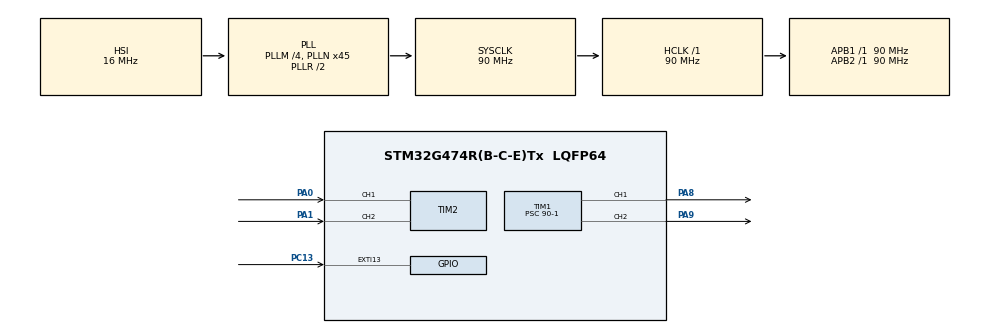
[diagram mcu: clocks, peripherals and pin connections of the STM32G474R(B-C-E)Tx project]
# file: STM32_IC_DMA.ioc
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Dma.Request0=TIM2_CH1
Dma.Request1=TIM2_CH2
Dma.TIM2_CH1.0.Direction=DMA_PERIPH_TO_MEMORY
Dma.TIM2_CH1.0.EventEnable=DISABLE
Dma.TIM2_CH1.0.Instance=DMA1_Channel1
Dma.TIM2_CH1.0.MemDataAlignment=DMA_MDATAALIGN_WORD
Dma.TIM2_CH1.0.MemInc=DMA_MINC_ENABLE
Dma.TIM2_CH1.0.Mode=DMA_NORMAL
Dma.TIM2_CH1.0.PeriphDataAlignment=DMA_PDATAALIGN_WORD
Dma.TIM2_CH1.0.PeriphInc=DMA_PINC_DISABLE
Dma.TIM2_CH1.0.Polarity=HAL_DMAMUX_REQ_GEN_RISING
Dma.TIM2_CH1.0.Priority=DMA_PRIORITY_LOW
Dma.TIM2_CH1.0.RequestNumber=1
Dma.TIM2_CH1.0.SignalID=NONE
Dma.TIM2_CH1.0.SyncEnable=DISABLE
Dma.TIM2_CH1.0.SyncPolarity=HAL_DMAMUX_SYNC_NO_EVENT
Dma.TIM2_CH1.0.SyncRequestNumber=1
Dma.TIM2_CH1.0.SyncSignalID=NONE
Dma.TIM2_CH2.1.Direction=DMA_PERIPH_TO_MEMORY
Dma.TIM2_CH2.1.EventEnable=DISABLE
Dma.TIM2_CH2.1.Instance=DMA1_Channel2
Dma.TIM2_CH2.1.MemDataAlignment=DMA_MDATAALIGN_WORD
Dma.TIM2_CH2.1.MemInc=DMA_MINC_ENABLE
Dma.TIM2_CH2.1.Mode=DMA_NORMAL
Dma.TIM2_CH2.1.PeriphDataAlignment=DMA_PDATAALIGN_WORD
Dma.TIM2_CH2.1.PeriphInc=DMA_PINC_DISABLE
Dma.TIM2_CH2.1.Polarity=HAL_DMAMUX_REQ_GEN_RISING
Dma.TIM2_CH2.1.Priority=DMA_PRIORITY_LOW
Dma.TIM2_CH2.1.RequestNumber=1
Dma.TIM2_CH2.1.SignalID=NONE
Dma.TIM2_CH2.1.SyncEnable=DISABLE
Dma.TIM2_CH2.1.SyncPolarity=HAL_DMAMUX_SYNC_NO_EVENT
Dma.TIM2_CH2.1.SyncRequestNumber=1
Dma.TIM2_CH2.1.SyncSignalID=NONE
Mcu.Family=STM32G4
Mcu.Name=STM32G474R(B-C-E)Tx
Mcu.Package=LQFP64
NVIC.DMA1_Channel1_IRQn=true\:0\:0\:false\:false\:true\:false\:true\:true
NVIC.DMA1_Channel2_IRQn=true\:0\:0\:false\:false\:true\:false\:true\:true
NVIC.EXTI15_10_IRQn=true\:0\:0\:false\:false\:true\:true\:true\:true
NVIC.PriorityGroup=NVIC_PRIORITYGROUP_4
NVIC.TIM2_IRQn=true\:0\:0\:false\:false\:true\:true\:true\:true
PA0.Signal=S_TIM2_CH1
PA1.Signal=S_TIM2_CH2
PA8.Signal=S_TIM1_CH1
PA9.Signal=S_TIM1_CH2
PC13.Signal=GPXTI13
PC14-OSC32_IN.Mode=LSE-External-Oscillator
PC14-OSC32_IN.Signal=RCC_OSC32_IN
PC15-OSC32_OUT.Mode=LSE-External-Oscillator
PC15-OSC32_OUT.Signal=RCC_OSC32_OUT
PF0-OSC_IN.Mode=HSE-External-Oscillator
PF0-OSC_IN.Signal=RCC_OSC_IN
PF1-OSC_OUT.Mode=HSE-External-Oscillator
PF1-OSC_OUT.Signal=RCC_OSC_OUT
ProjectManager.HeapSize=0x200
ProjectManager.StackSize=0x400
ProjectManager.TargetToolchain=STM32CubeIDE
RCC.ADC12Freq_Value=90000000
RCC.ADC345Freq_Value=90000000
RCC.AHBFreq_Value=90000000
RCC.APB1Freq_Value=90000000
RCC.APB1TimFreq_Value=90000000
RCC.APB2Freq_Value=90000000
RCC.APB2TimFreq_Value=90000000
RCC.CortexFreq_Value=90000000
RCC.EXTERNAL_CLOCK_VALUE=12288000
RCC.HCLKFreq_Value=90000000
RCC.HSE_VALUE=24000000
RCC.HSI48_VALUE=48000000
RCC.HSI_VALUE=16000000
RCC.PLLM=RCC_PLLM_DIV4
RCC.PLLN=45
RCC.RTCClockSelection=RCC_RTCCLKSOURCE_LSE
RCC.SYSCLKFreq_VALUE=90000000
RCC.SYSCLKSource=RCC_SYSCLKSOURCE_PLLCLK
RCC.USBFreq_Value=90000000
RCC.VCOOutputFreq_Value=180000000
SH.S_TIM1_CH1.0=TIM1_CH1,PWM Generation1 CH1
SH.S_TIM1_CH2.0=TIM1_CH2,PWM Generation2 CH2
SH.S_TIM2_CH1.0=TIM2_CH1,Input_Capture1_from_TI1
SH.S_TIM2_CH2.0=TIM2_CH2,Input_Capture2_from_TI2
TIM1.Channel-PWM\ Generation1\ CH1=TIM_CHANNEL_1
TIM1.Channel-PWM\ Generation2\ CH2=TIM_CHANNEL_2
TIM1.OCPolarity_2=TIM_OCPOLARITY_HIGH
TIM1.PeriodNoDither=100 - 1
TIM1.Prescaler=90-1
TIM1.PulseNoDither_1=40
TIM1.PulseNoDither_2=60
TIM2.Channel-Input_Capture1_from_TI1=TIM_CHANNEL_1
TIM2.Channel-Input_Capture2_from_TI2=TIM_CHANNEL_2
TIM2.ICPolarity_CH1=TIM_INPUTCHANNELPOLARITY_FALLING
TIM2.ICPolarity_CH2=TIM_INPUTCHANNELPOLARITY_FALLING
VP_SYS_VS_DBSignals.Mode=DisableDeadBatterySignals
VP_TIM1_VS_ClockSourceINT.Mode=Internal
VP_TIM2_VS_ClockSourceINT.Mode=Internal
board=NUCLEO-G474RE

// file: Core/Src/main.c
/* USER CODE BEGIN Header */
/**
  ******************************************************************************
  * @file           : main.c
  * @brief          : Main program body
  ******************************************************************************
  * @attention
  *
  * Copyright (c) 2023 STMicroelectronics.
  * All rights reserved.
  *
  * This software is licensed under terms that can be found in the LICENSE file
  * in the root directory of this software component.
  * If no LICENSE file comes with this software, it is provided AS-IS.
  *
  ******************************************************************************
  */
/* USER CODE END Header */
#include "main.h"

TIM_HandleTypeDef htim1;
TIM_HandleTypeDef htim2;
DMA_HandleTypeDef hdma_tim2_ch1;
DMA_HandleTypeDef hdma_tim2_ch2;

void SystemClock_Config(void);
static void MX_GPIO_Init(void);
static void MX_DMA_Init(void);
static void MX_TIM1_Init(void);
static void MX_TIM2_Init(void);
/* USER CODE BEGIN PFP */
void Phase_Shift_Calculator(void);
void HAL_GPIO_EXTI_Callback(uint16_t GPIO_Pin);
void Frequency_Calculator(void);

/* USER CODE END PFP */

/* USER CODE BEGIN 0 */
#define numVal 100
#define TIM2CLOCK 90000000
float InpFrequency = 0;
float Phaseshift = 0;

uint32_t Data1[numVal];
uint32_t Data2[numVal];
uint32_t PSData[numVal];
uint32_t FrData[numVal-1];

void HAL_TIM_IC_CaptureCallback(TIM_HandleTypeDef *htim)
{
	//there is nothing for now
}

void Phase_Shift_Calculator(void)
{
	int i;
	int sum;
	int TimeDifference;
	for (i=0 ; i < numVal ; i++)
	{
		if (Data1[i] < Data2[i])
		{
			PSData[i] = Data2[i] - Data1[i];
		}
		else
		{
			PSData[i] = Data1[i] - Data2[i];
		}
		sum += PSData[i];
	}
	TimeDifference = sum/numVal;
	Phaseshift = 360*(TimeDifference / (float)TIM2CLOCK )* InpFrequency ;
	sum = 0;
}
void Frequency_Calculator(void)
{
	int i ;
	int sum ;
	int TimeDifference;
	for (i=0; i < numVal-1; i++)
	{
		FrData[i] = Data2[i+1] - Data2[i];
		sum += FrData[i];
	}
	TimeDifference = sum/(numVal-1);
	InpFrequency = TIM2CLOCK / (float)TimeDifference ;
	sum = 0;
}

void HAL_GPIO_EXTI_Callback(uint16_t GPIO_Pin)
{
	Frequency_Calculator();
	Phase_Shift_Calculator();
}

/* USER CODE END 0 */

int main(void)
{

  /* MCU Configuration--------------------------------------------------------*/

  /* Reset of all peripherals, Initializes the Flash interface and the Systick. */
  HAL_Init();

  /* Configure the system clock */
  SystemClock_Config();

  /* Initialize all configured peripherals */
  MX_GPIO_Init();
  MX_DMA_Init();
  MX_TIM1_Init();
  MX_TIM2_Init();
  /* USER CODE BEGIN 2 */
  HAL_TIM_PWM_Start(&htim1, TIM_CHANNEL_1);
  HAL_TIM_PWM_Start(&htim1, TIM_CHANNEL_2);
  HAL_TIM_IC_Start_DMA(&htim2, TIM_CHANNEL_1, Data1, numVal);
  HAL_TIM_IC_Start_DMA(&htim2, TIM_CHANNEL_2, Data2, numVal);

  /* USER CODE END 2 */

  /* Infinite loop */
  /* USER CODE BEGIN WHILE */
  while (1)
  {
    HAL_Delay(100);

    /* USER CODE END WHILE */

  }
}

void SystemClock_Config(void)
{
  RCC_OscInitTypeDef RCC_OscInitStruct = {0};
  RCC_ClkInitTypeDef RCC_ClkInitStruct = {0};

  /** Configure the main internal regulator output voltage
  */
  HAL_PWREx_ControlVoltageScaling(PWR_REGULATOR_VOLTAGE_SCALE1);

  /** Initializes the RCC Oscillators according to the specified parameters
  * in the RCC_OscInitTypeDef structure.
  */
  RCC_OscInitStruct.OscillatorType = RCC_OSCILLATORTYPE_HSI;
  RCC_OscInitStruct.HSIState = RCC_HSI_ON;
  RCC_OscInitStruct.HSICalibrationValue = RCC_HSICALIBRATION_DEFAULT;
  RCC_OscInitStruct.PLL.PLLState = RCC_PLL_ON;
  RCC_OscInitStruct.PLL.PLLSource = RCC_PLLSOURCE_HSI;
  RCC_OscInitStruct.PLL.PLLM = RCC_PLLM_DIV4;
  RCC_OscInitStruct.PLL.PLLN = 45;
  RCC_OscInitStruct.PLL.PLLP = RCC_PLLP_DIV2;
  RCC_OscInitStruct.PLL.PLLQ = RCC_PLLQ_DIV2;
  RCC_OscInitStruct.PLL.PLLR = RCC_PLLR_DIV2;
  if (HAL_RCC_OscConfig(&RCC_OscInitStruct) != HAL_OK)
  {
    Error_Handler();
  }

  /** Initializes the CPU, AHB and APB buses clocks
  */
  RCC_ClkInitStruct.ClockType = RCC_CLOCKTYPE_HCLK|RCC_CLOCKTYPE_SYSCLK
                              |RCC_CLOCKTYPE_PCLK1|RCC_CLOCKTYPE_PCLK2;
  RCC_ClkInitStruct.SYSCLKSource = RCC_SYSCLKSOURCE_PLLCLK;
  RCC_ClkInitStruct.AHBCLKDivider = RCC_SYSCLK_DIV1;
  RCC_ClkInitStruct.APB1CLKDivider = RCC_HCLK_DIV1;
  RCC_ClkInitStruct.APB2CLKDivider = RCC_HCLK_DIV1;

  if (HAL_RCC_ClockConfig(&RCC_ClkInitStruct, FLASH_LATENCY_2) != HAL_OK)
  {
    Error_Handler();
  }
}

static void MX_TIM1_Init(void)
{

  TIM_ClockConfigTypeDef sClockSourceConfig = {0};
  TIM_MasterConfigTypeDef sMasterConfig = {0};
  TIM_OC_InitTypeDef sConfigOC = {0};
  TIM_BreakDeadTimeConfigTypeDef sBreakDeadTimeConfig = {0};

  htim1.Instance = TIM1;
  htim1.Init.Prescaler = 90-1;
  htim1.Init.CounterMode = TIM_COUNTERMODE_UP;
  htim1.Init.Period = 99;
  htim1.Init.ClockDivision = TIM_CLOCKDIVISION_DIV1;
  htim1.Init.RepetitionCounter = 0;
  htim1.Init.AutoReloadPreload = TIM_AUTORELOAD_PRELOAD_DISABLE;
  if (HAL_TIM_Base_Init(&htim1) != HAL_OK)
  {
    Error_Handler();
  }
  sClockSourceConfig.ClockSource = TIM_CLOCKSOURCE_INTERNAL;
  if (HAL_TIM_ConfigClockSource(&htim1, &sClockSourceConfig) != HAL_OK)
  {
    Error_Handler();
  }
  if (HAL_TIM_PWM_Init(&htim1) != HAL_OK)
  {
    Error_Handler();
  }
  sMasterConfig.MasterOutputTrigger = TIM_TRGO_RESET;
  sMasterConfig.MasterOutputTrigger2 = TIM_TRGO2_RESET;
  sMasterConfig.MasterSlaveMode = TIM_MASTERSLAVEMODE_DISABLE;
  if (HAL_TIMEx_MasterConfigSynchronization(&htim1, &sMasterConfig) != HAL_OK)
  {
    Error_Handler();
  }
  sConfigOC.OCMode = TIM_OCMODE_PWM1;
  sConfigOC.Pulse = 40;
  sConfigOC.OCPolarity = TIM_OCPOLARITY_HIGH;
  sConfigOC.OCNPolarity = TIM_OCNPOLARITY_HIGH;
  sConfigOC.OCFastMode = TIM_OCFAST_DISABLE;
  sConfigOC.OCIdleState = TIM_OCIDLESTATE_RESET;
  sConfigOC.OCNIdleState = TIM_OCNIDLESTATE_RESET;
  if (HAL_TIM_PWM_ConfigChannel(&htim1, &sConfigOC, TIM_CHANNEL_1) != HAL_OK)
  {
    Error_Handler();
  }
  sConfigOC.Pulse = 60;
  if (HAL_TIM_PWM_ConfigChannel(&htim1, &sConfigOC, TIM_CHANNEL_2) != HAL_OK)
  {
    Error_Handler();
  }
  sBreakDeadTimeConfig.OffStateRunMode = TIM_OSSR_DISABLE;
  sBreakDeadTimeConfig.OffStateIDLEMode = TIM_OSSI_DISABLE;
  sBreakDeadTimeConfig.LockLevel = TIM_LOCKLEVEL_OFF;
  sBreakDeadTimeConfig.DeadTime = 0;
  sBreakDeadTimeConfig.BreakState = TIM_BREAK_DISABLE;
  sBreakDeadTimeConfig.BreakPolarity = TIM_BREAKPOLARITY_HIGH;
  sBreakDeadTimeConfig.BreakFilter = 0;
  sBreakDeadTimeConfig.BreakAFMode = TIM_BREAK_AFMODE_INPUT;
  sBreakDeadTimeConfig.Break2State = TIM_BREAK2_DISABLE;
  sBreakDeadTimeConfig.Break2Polarity = TIM_BREAK2POLARITY_HIGH;
  sBreakDeadTimeConfig.Break2Filter = 0;
  sBreakDeadTimeConfig.Break2AFMode = TIM_BREAK_AFMODE_INPUT;
  sBreakDeadTimeConfig.AutomaticOutput = TIM_AUTOMATICOUTPUT_DISABLE;
  if (HAL_TIMEx_ConfigBreakDeadTime(&htim1, &sBreakDeadTimeConfig) != HAL_OK)
  {
    Error_Handler();
  }
  HAL_TIM_MspPostInit(&htim1);

}

static void MX_TIM2_Init(void)
{

  TIM_ClockConfigTypeDef sClockSourceConfig = {0};
  TIM_MasterConfigTypeDef sMasterConfig = {0};
  TIM_IC_InitTypeDef sConfigIC = {0};

  htim2.Instance = TIM2;
  htim2.Init.Prescaler = 0;
  htim2.Init.CounterMode = TIM_COUNTERMODE_UP;
  htim2.Init.Period = 4.294967295E9;
  htim2.Init.ClockDivision = TIM_CLOCKDIVISION_DIV1;
  htim2.Init.AutoReloadPreload = TIM_AUTORELOAD_PRELOAD_DISABLE;
  if (HAL_TIM_Base_Init(&htim2) != HAL_OK)
  {
    Error_Handler();
  }
  sClockSourceConfig.ClockSource = TIM_CLOCKSOURCE_INTERNAL;
  if (HAL_TIM_ConfigClockSource(&htim2, &sClockSourceConfig) != HAL_OK)
  {
    Error_Handler();
  }
  if (HAL_TIM_IC_Init(&htim2) != HAL_OK)
  {
    Error_Handler();
  }
  sMasterConfig.MasterOutputTrigger = TIM_TRGO_RESET;
  sMasterConfig.MasterSlaveMode = TIM_MASTERSLAVEMODE_DISABLE;
  if (HAL_TIMEx_MasterConfigSynchronization(&htim2, &sMasterConfig) != HAL_OK)
  {
    Error_Handler();
  }
  sConfigIC.ICPolarity = TIM_INPUTCHANNELPOLARITY_FALLING;
  sConfigIC.ICSelection = TIM_ICSELECTION_DIRECTTI;
  sConfigIC.ICPrescaler = TIM_ICPSC_DIV1;
  sConfigIC.ICFilter = 0;
  if (HAL_TIM_IC_ConfigChannel(&htim2, &sConfigIC, TIM_CHANNEL_1) != HAL_OK)
  {
    Error_Handler();
  }
  if (HAL_TIM_IC_ConfigChannel(&htim2, &sConfigIC, TIM_CHANNEL_2) != HAL_OK)
  {
    Error_Handler();
  }

}

static void MX_DMA_Init(void)
{

  /* DMA controller clock enable */
  __HAL_RCC_DMAMUX1_CLK_ENABLE();
  __HAL_RCC_DMA1_CLK_ENABLE();

  /* DMA interrupt init */
  /* DMA1_Channel1_IRQn interrupt configuration */
  HAL_NVIC_SetPriority(DMA1_Channel1_IRQn, 0, 0);
  HAL_NVIC_EnableIRQ(DMA1_Channel1_IRQn);
  /* DMA1_Channel2_IRQn interrupt configuration */
  HAL_NVIC_SetPriority(DMA1_Channel2_IRQn, 0, 0);
  HAL_NVIC_EnableIRQ(DMA1_Channel2_IRQn);

}

static void MX_GPIO_Init(void)
{
  GPIO_InitTypeDef GPIO_InitStruct = {0};

  /* GPIO Ports Clock Enable */
  __HAL_RCC_GPIOC_CLK_ENABLE();
  __HAL_RCC_GPIOF_CLK_ENABLE();
  __HAL_RCC_GPIOA_CLK_ENABLE();

  /*Configure GPIO pin : PC13 */
  GPIO_InitStruct.Pin = GPIO_PIN_13;
  GPIO_InitStruct.Mode = GPIO_MODE_IT_RISING;
  GPIO_InitStruct.Pull = GPIO_NOPULL;
  HAL_GPIO_Init(GPIOC, &GPIO_InitStruct);

  /* EXTI interrupt init*/
  HAL_NVIC_SetPriority(EXTI15_10_IRQn, 0, 0);
  HAL_NVIC_EnableIRQ(EXTI15_10_IRQn);

}

void Error_Handler(void)
{
  __disable_irq();
  while (1)
  {
  }
}
